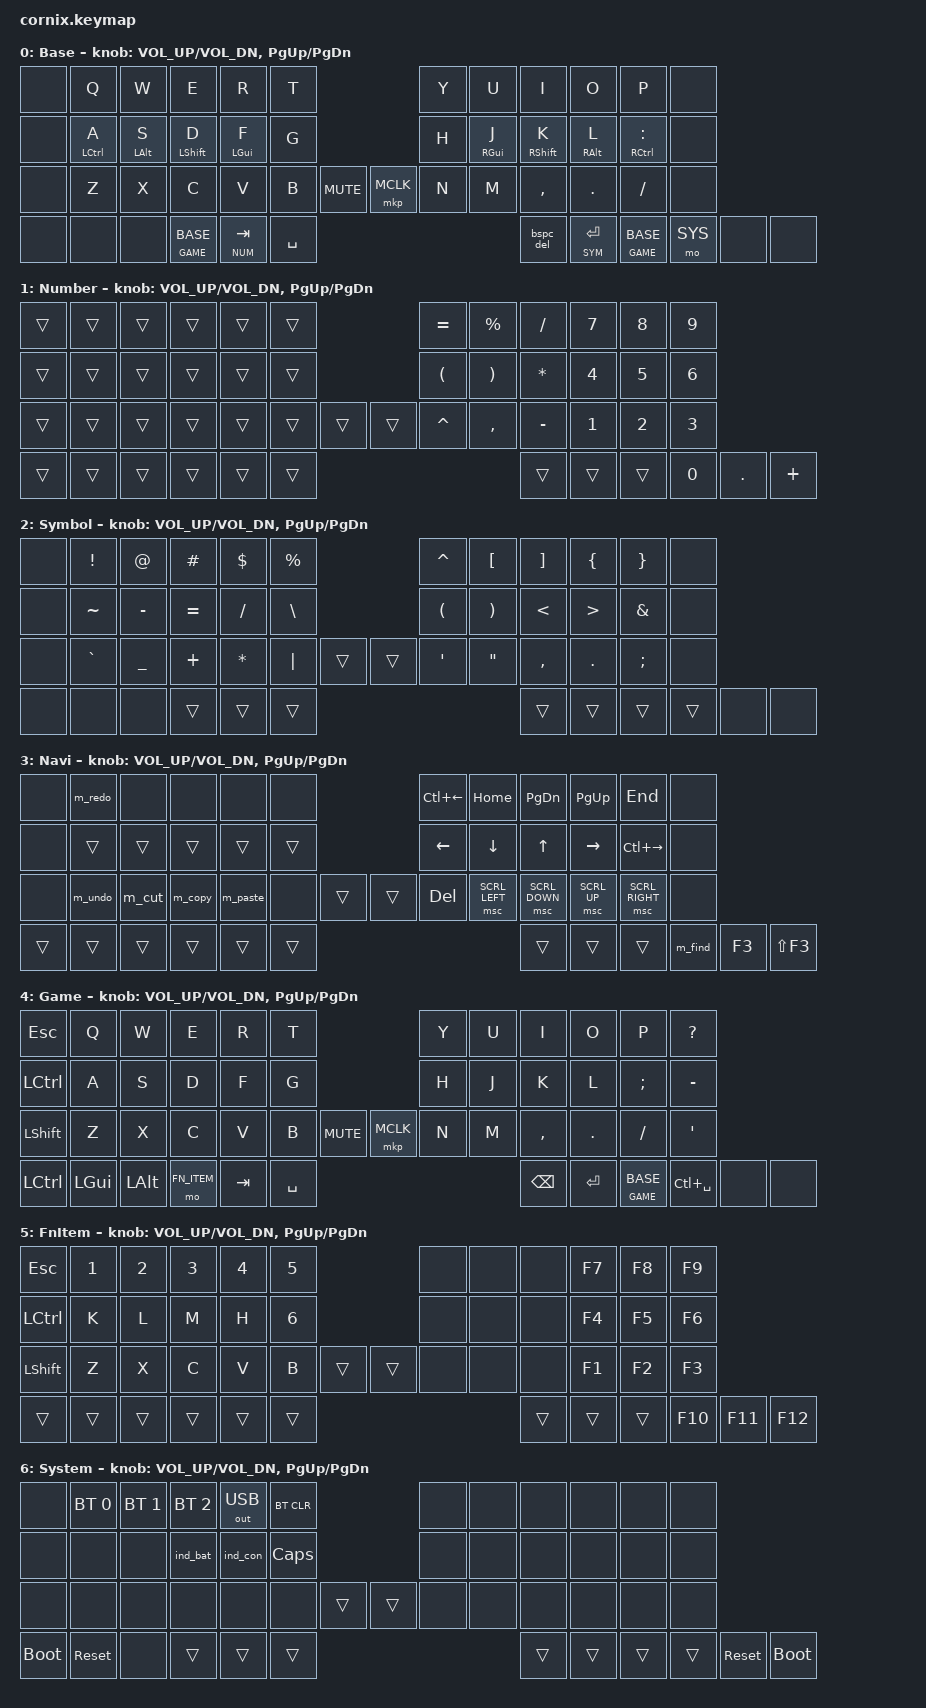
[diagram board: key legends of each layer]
/*
 * Cornix ZMK keymap - rework proposal
 *
 * Layers:
 * 0 BASE
 * 1 NUM
 * 2 SYM
 * 3 NAV
 * 4 GAME
 * 5 FN_ITEM
 * 6 SYS
 *
 * Main ideas:
 * - Q + W combo sends Escape on BASE.
 * - Left middle thumb: tap Tab / hold NUM.
 * - Right middle thumb: tap Enter / hold SYM.
 * - Left + right middle-thumb combo switches IME (Ctrl+Space).
 * - On either outer thumb: tap forces BASE; hold forces GAME.
 * - Both outer thumb keys together momentarily activate NAV on BASE.
 * - Shift + Backspace sends Delete.
 * - Base ':' remains on the normal semicolon position; ';' is on SYM.
 * - Z + X held together momentarily activates FN_ITEM on BASE.
 * - F13-F19 layer-view macros and the selector layer are removed.
 */

#include "zmk-helpers/helper.h"
#include "includes/cornix54.h"

#include <behaviors.dtsi>
#include <dt-bindings/zmk/bt.h>
#include <dt-bindings/zmk/ext_power.h>
#include <dt-bindings/zmk/keys.h>
#include <dt-bindings/zmk/outputs.h>
#include <dt-bindings/zmk/rgb.h>
#define ZMK_POINTING_DEFAULT_SCRL_VAL 60
#include <dt-bindings/zmk/pointing.h>
#include <behaviors/rgbled_widget.dtsi>

#define HM_TAPPING_TERM       200
#define HM_TAPPING_TERM_FAST  180
#define HM_TAPPING_REPEAT     150
#define HM_PRIOR_IDLE          70
#define THUMB_TAPPING_TERM    180
#define THUMB_QUICK_TAP       130
#define GAME_TAPPING_TERM     150
#define MODE_TAPPING_TERM     220

#define BASE    0
#define NUM     1
#define SYM     2
#define NAV     3
#define GAME    4
#define FN_ITEM 5
#define SYS     6

#define KEYS_L LT0 LT1 LT2 LT3 LT4 LT5 LM0 LM1 LM2 LM3 LM4 LM5 LB0 LB1 LB2 LB3 LB4 LB5
#define KEYS_R RT0 RT1 RT2 RT3 RT4 RT5 RM0 RM1 RM2 RM3 RM4 RM5 RB0 RB1 RB2 RB3 RB4 RB5
/* The Cornix helper header aliases some palm positions; 47-49 are the three right palm keys in this 50-binding layout. */
#define KEYS_R_ALL KEYS_R 47 48 49
#define KEYS_T LH1 LH0 RH0 RH1

/ {
    macros {
        m_undo: m_undo {
            compatible = "zmk,behavior-macro";
            #binding-cells = <0>;
            bindings = <&macro_press &kp LCTRL>, <&macro_tap &kp Z>, <&macro_release &kp LCTRL>;
        };

        m_cut: m_cut {
            compatible = "zmk,behavior-macro";
            #binding-cells = <0>;
            bindings = <&macro_press &kp LCTRL>, <&macro_tap &kp X>, <&macro_release &kp LCTRL>;
        };

        m_copy: m_copy {
            compatible = "zmk,behavior-macro";
            #binding-cells = <0>;
            bindings = <&macro_press &kp LCTRL>, <&macro_tap &kp C>, <&macro_release &kp LCTRL>;
        };

        m_paste: m_paste {
            compatible = "zmk,behavior-macro";
            #binding-cells = <0>;
            bindings = <&macro_press &kp LCTRL>, <&macro_tap &kp V>, <&macro_release &kp LCTRL>;
        };

        m_redo: m_redo {
            compatible = "zmk,behavior-macro";
            #binding-cells = <0>;
            bindings = <&macro_press &kp LCTRL>, <&macro_press &kp LSHFT>, <&macro_tap &kp Z>, <&macro_release &kp LSHFT>, <&macro_release &kp LCTRL>;
        };

        m_find: m_find {
            compatible = "zmk,behavior-macro";
            #binding-cells = <0>;
            bindings = <&macro_press &kp LCTRL>, <&macro_tap &kp F>, <&macro_release &kp LCTRL>;
        };

        m_input_switch: m_input_switch {
            compatible = "zmk,behavior-macro";
            #binding-cells = <0>;
            bindings = <&macro_press &kp LCTRL>, <&macro_tap &kp SPACE>, <&macro_release &kp LCTRL>;
        };
    };

    behaviors {
        hm_l: homerow_mods_left {
            compatible = "zmk,behavior-hold-tap";
            #binding-cells = <2>;
            bindings = <&kp>, <&kp>;

            flavor = "balanced";
            tapping-term-ms = <HM_TAPPING_TERM>;
            quick-tap-ms = <HM_TAPPING_REPEAT>;
            require-prior-idle-ms = <HM_PRIOR_IDLE>;
            hold-trigger-key-positions = <KEYS_R KEYS_T>;
            hold-trigger-on-release;
        };

        hm_r: homerow_mods_right {
            compatible = "zmk,behavior-hold-tap";
            #binding-cells = <2>;
            bindings = <&kp>, <&kp>;

            flavor = "balanced";
            tapping-term-ms = <HM_TAPPING_TERM>;
            quick-tap-ms = <HM_TAPPING_REPEAT>;
            require-prior-idle-ms = <HM_PRIOR_IDLE>;
            hold-trigger-key-positions = <KEYS_L KEYS_T>;
            hold-trigger-on-release;
        };

        bspc_del: backspace_delete {
            compatible = "zmk,behavior-mod-morph";
            #binding-cells = <0>;
            bindings = <&kp BSPC>, <&kp DEL>;
            mods = <(MOD_LSFT|MOD_RSFT)>;
        };

        /* Tab when tapped; NUM when held with a right-hand key. */
        lt_num: number_tab {
            compatible = "zmk,behavior-hold-tap";
            #binding-cells = <2>;
            bindings = <&mo>, <&kp>;

            flavor = "balanced";
            tapping-term-ms = <THUMB_TAPPING_TERM>;
            quick-tap-ms = <THUMB_QUICK_TAP>;
            hold-trigger-key-positions = <KEYS_R_ALL>;
            hold-trigger-on-release;
        };

        /* Enter when tapped; SYM when held. Symbols are intentionally available on both hands. */
        lt_sym: symbol_enter {
            compatible = "zmk,behavior-hold-tap";
            #binding-cells = <2>;
            bindings = <&mo>, <&kp>;

            flavor = "hold-preferred";
            tapping-term-ms = <THUMB_TAPPING_TERM>;
            quick-tap-ms = <THUMB_QUICK_TAP>;
        };


        /* Deterministic mode selection: tap -> BASE, hold -> GAME. */
        mode_select: mode_select {
            compatible = "zmk,behavior-hold-tap";
            #binding-cells = <2>;
            bindings = <&to>, <&to>;

            flavor = "tap-preferred";
            tapping-term-ms = <MODE_TAPPING_TERM>;
        };

        /* In GAME: tap Tab; hold for the item/function layer. */
        lt_game_item: game_item_tab {
            compatible = "zmk,behavior-hold-tap";
            #binding-cells = <2>;
            bindings = <&mo>, <&kp>;

            flavor = "hold-preferred";
            tapping-term-ms = <GAME_TAPPING_TERM>;
            quick-tap-ms = <THUMB_QUICK_TAP>;
        };
    };

    combos {
        compatible = "zmk,combos";

        combo_escape {
            timeout-ms = <45>;
            key-positions = <LT4 LT3>; /* Q + W */
            bindings = <&kp ESC>;
            layers = <BASE>;
        };


        combo_function {
            timeout-ms = <45>;
            key-positions = <LB4 LB3>; /* Z + X */
            bindings = <&mo FN_ITEM>;
            layers = <BASE>;
            slow-release;
        };

        combo_navigation {
            timeout-ms = <40>;
            key-positions = <LB2 LB1>; /* C + V */
            bindings = <&mo NAV>;
            layers = <BASE>;
            slow-release;
        };
    };

    keymap {
        compatible = "zmk,keymap";

        base_layer {
            display-name = "Base";
            bindings = <
                &none          &kp Q          &kp W           &kp E           &kp R              &kp T                               &kp Y      &kp U          &kp I           &kp O          &kp P              &none
                &none          &hm_l LCTRL A  &hm_l LALT S    &hm_l LSHFT D   &hm_l LGUI F       &kp G                               &kp H      &hm_r RGUI J   &hm_r RSHFT K   &hm_r RALT L   &hm_r RCTRL COLON  &none
                &none          &kp Z          &kp X           &kp C           &kp V              &kp B       &kp C_MUTE  &mkp MCLK   &kp N      &kp M          &kp COMMA       &kp DOT        &kp FSLH           &none
                &none          &none          &none           &mode_select GAME BASE  &lt_num NUM TAB     &kp SPACE                           &bspc_del  &lt_sym SYM RET          &mode_select GAME BASE        &mo SYS        &none             &none
            >;
            sensor-bindings = <&inc_dec_kp C_VOL_UP C_VOL_DN &inc_dec_kp PG_UP PG_DN>;
        };

        number_layer {
            display-name = "Number";
            bindings = <
                &trans  &trans  &trans  &trans  &trans  &trans                          &kp EQUAL  &kp PRCNT  &kp FSLH   &kp N7  &kp N8   &kp N9
                &trans  &trans  &trans  &trans  &trans  &trans                          &kp LPAR   &kp RPAR   &kp ASTRK  &kp N4  &kp N5   &kp N6
                &trans  &trans  &trans  &trans  &trans  &trans  &trans      &trans       &kp CARET  &kp COMMA  &kp MINUS  &kp N1  &kp N2   &kp N3
                &trans  &trans  &trans  &trans  &trans  &trans                          &trans     &trans     &trans      &kp N0  &kp DOT  &kp PLUS
            >;
            sensor-bindings = <&inc_dec_kp C_VOL_UP C_VOL_DN &inc_dec_kp PG_UP PG_DN>;
        };

        symbol_layer {
            display-name = "Symbol";
            bindings = <
                &none   &kp EXCL   &kp AT      &kp HASH   &kp DLLR   &kp PRCNT                          &kp CARET  &kp LBKT   &kp RBKT   &kp LBRC      &kp RBRC      &none
                &none   &kp TILDE  &kp MINUS   &kp EQUAL  &kp FSLH   &kp BSLH                           &kp LPAR   &kp RPAR   &kp LT     &kp GT        &kp AMPS      &none
                &none   &kp GRAVE  &kp UNDER   &kp PLUS   &kp ASTRK  &kp PIPE   &trans      &trans       &kp SQT    &kp DQT    &kp COMMA  &kp DOT       &kp SEMI      &none
                &none   &none      &none       &trans     &trans     &trans                             &trans     &trans     &trans      &trans        &none         &none
            >;
            sensor-bindings = <&inc_dec_kp C_VOL_UP C_VOL_DN &inc_dec_kp PG_UP PG_DN>;
        };

        navigation_layer {
            display-name = "Navi";
            bindings = <
                &none   &m_redo  &none   &none    &none    &none                         &kp LC(LEFT)  &kp HOME  &kp PG_DN      &kp PG_UP    &kp END          &none
                &none   &trans   &trans  &trans   &trans   &trans                        &kp LEFT      &kp DOWN  &kp UP         &kp RIGHT    &kp LC(RIGHT)    &none
                &none   &m_undo  &m_cut  &m_copy  &m_paste &none   &trans      &trans     &kp DEL       &msc SCRL_LEFT  &msc SCRL_DOWN  &msc SCRL_UP  &msc SCRL_RIGHT  &none
                &trans  &trans   &trans  &trans   &trans   &trans                        &trans        &trans    &trans         &m_find      &kp F3           &kp LS(F3)
            >;
            sensor-bindings = <&inc_dec_kp C_VOL_UP C_VOL_DN &inc_dec_kp PG_UP PG_DN>;
        };

        game_base_layer {
            display-name = "Game";
            bindings = <
                &kp ESC    &kp Q     &kp W     &kp E        &kp R    &kp T                             &kp Y     &kp U    &kp I         &kp O      &kp P      &kp QUESTION
                &kp LCTRL  &kp A     &kp S     &kp D        &kp F    &kp G                             &kp H     &kp J    &kp K         &kp L      &kp SEMI   &kp MINUS
                &kp LSHFT  &kp Z     &kp X     &kp C        &kp V    &kp B      &kp C_MUTE  &mkp MCLK  &kp N     &kp M    &kp COMMA     &kp DOT    &kp FSLH   &kp SQT
                &kp LCTRL  &kp LGUI  &kp LALT  &mo FN_ITEM  &kp TAB  &kp SPACE                         &kp BSPC  &kp RET  &mode_select GAME BASE  &kp LC(SPACE)  &none       &none
            >;
            sensor-bindings = <&inc_dec_kp C_VOL_UP C_VOL_DN &inc_dec_kp PG_UP PG_DN>;
        };

        fn_item_layer {
            display-name = "FnItem";
            bindings = <
                &kp ESC    &kp N1   &kp N2    &kp N3  &kp N4   &kp N5                            &none    &none    &none   &kp F7   &kp F8   &kp F9
                &kp LCTRL  &kp K    &kp L     &kp M   &kp H    &kp N6                            &none    &none    &none   &kp F4   &kp F5   &kp F6
                &kp LSHFT  &kp Z    &kp X     &kp C   &kp V    &kp B      &trans      &trans      &none    &none    &none   &kp F1   &kp F2   &kp F3
                &trans     &trans   &trans     &trans  &trans   &trans                            &trans   &trans   &trans  &kp F10  &kp F11  &kp F12
            >;
            sensor-bindings = <&inc_dec_kp C_VOL_UP C_VOL_DN &inc_dec_kp PG_UP PG_DN>;
        };

        system_layer {
            display-name = "System";
            bindings = <
                &none        &bt BT_SEL 0  &bt BT_SEL 1  &bt BT_SEL 2  &out OUT_USB  &bt BT_CLR                         &none  &none  &none  &none  &none       &none
                &none        &none         &none         &ind_bat      &ind_con      &kp CAPS                           &none  &none  &none  &none  &none       &none
                &none        &none         &none         &none         &none         &none       &trans      &trans      &none  &none  &none  &none  &none       &none
                &bootloader  &sys_reset    &none         &trans        &trans         &trans                            &trans  &trans  &trans  &trans  &sys_reset  &bootloader
            >;
            sensor-bindings = <&inc_dec_kp C_VOL_UP C_VOL_DN &inc_dec_kp PG_UP PG_DN>;
        };
    };
};
